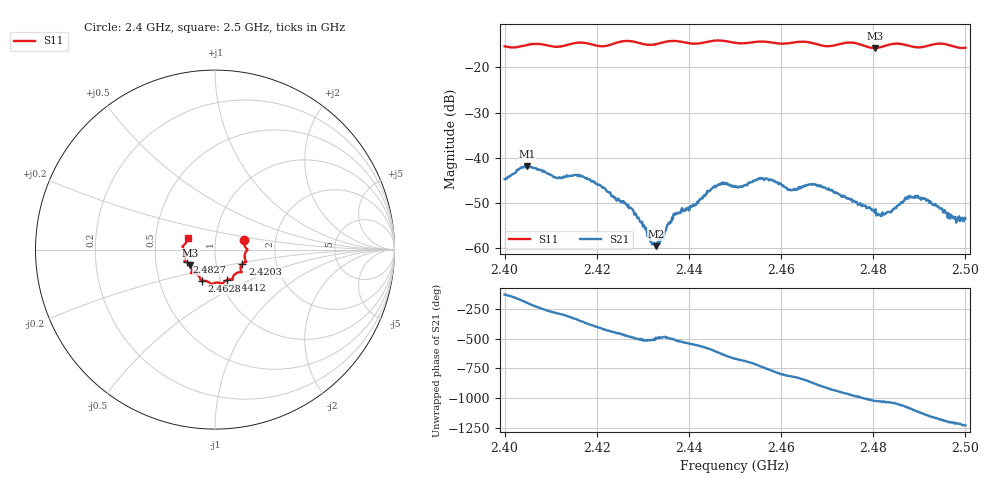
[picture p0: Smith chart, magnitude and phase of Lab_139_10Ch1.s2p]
# Hz S RI R 50
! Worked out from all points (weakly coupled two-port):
!   601 points, 2.4 GHz to 2.5 GHz, reference 50 ohm
!   highest |S21| = -41.86 dB at 2.4048 GHz (marker M1); lowest = -59.5 dB at 2.4328 GHz (marker M2)
!   lowest |S11| = -15.8 dB at 2.4803 GHz (marker M3), VSWR 1.39, Z = 37.4 - j6.77 ohm
!   |S11| at or under -10 dB: start of sweep to end of sweep
!   S12 and S22 are empty: the file has one direction only
!   S11 on the Smith chart (normalised r, x): 2.4 GHz: 1.38, +0.15; 2.4203 GHz: 1.34, -0.22; 2.4412 GHz: 1.08, -0.38; 2.4628 GHz: 0.82, -0.29; 2.4827 GHz: 0.72, -0.10; 2.5 GHz: 0.73, +0.10
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2.4e9  0.1617 0.0527  -0.00381 -0.00439  0 0  0 0
2.404833e9  0.1759 0.00453  -0.00758 0.00278  0 0  0 0
2.411167e9  0.166 -0.0272  0.00162 0.0058  0 0  0 0
2.416667e9  0.1741 -0.0691  0.00631 0.000487  0 0  0 0
2.420333e9  0.1524 -0.0794  0.00353 -0.00351  0 0  0 0
2.427333e9  0.1475 -0.1262  -0.00162 -0.00229  0 0  0 0
2.432833e9  0.1024 -0.1477  -0.000697 -0.000792  0 0  0 0
2.433333e9  0.1002 -0.1519  -0.000777 -0.000758  0 0  0 0
2.436833e9  0.0981 -0.1688  -0.00205 -0.00128  0 0  0 0
2.441167e9  0.0682 -0.1687  -0.0029 0.000528  0 0  0 0
2.446833e9  0.0416 -0.1928  -0.000526 0.00516  0 0  0 0
2.45e9  0.0245 -0.1847  0.00299 0.00376  0 0  0 0
2.455667e9  -0.0188 -0.1914  0.00567 -0.00146  0 0  0 0
2.462833e9  -0.0718 -0.1737  -0.00087 -0.00446  0 0  0 0
2.466667e9  -0.0808 -0.1676  -0.00422 -0.00275  0 0  0 0
2.480333e9  -0.1372 -0.0881  0.00129 0.00214  0 0  0 0
2.482667e9  -0.1578 -0.0705  0.00153 0.00184  0 0  0 0
2.483333e9  -0.1631 -0.0684  0.00167 0.00191  0 0  0 0
2.4875e9  -0.1658 -0.0524  0.00371 0.000392  0 0  0 0
2.489167e9  -0.1634 -0.0329  0.00351 -0.00147  0 0  0 0
2.497833e9  -0.1638 0.0356  -0.00134 -0.00178  0 0  0 0
2.5e9  -0.151 0.0645  -0.00178 -0.00117  0 0  0 0
